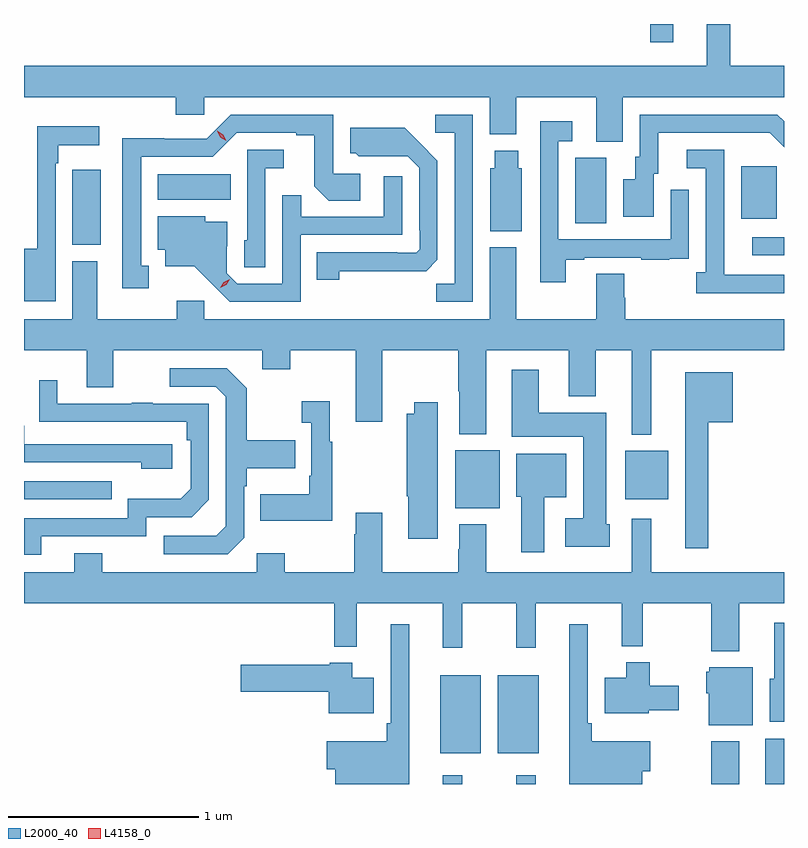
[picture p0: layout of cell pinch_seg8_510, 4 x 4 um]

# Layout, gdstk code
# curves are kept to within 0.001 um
import gdstk
lib = gdstk.Library(unit=1e-6, precision=1e-09)
def R(c, l, rs):  # rectangles x0, y0, x1, y1
    for r in rs: c.add(gdstk.rectangle(r[:2], r[2:], *l))
def P(c, l, *ps):  # polygons
    for p in ps: c.add(gdstk.Polygon(p, *l))
L2000_40 = (2000, 40)
L4158_0 = (4158, 0)

pinch_seg8_510 = lib.new_cell('pinch_seg8_510')
R(pinch_seg8_510, L2000_40, [(192.152,1100.897,192.254,1100.944), (192.538,1100.897,192.64,1100.944), (193.564,1100.897,193.711,1101.121), (193.847,1100.897,193.947,1101.136), (192.137,1101.059,192.352,1101.469), (192.44,1101.059,192.655,1101.469), (192.218,1102.349,192.451,1102.654), (189.947,1102.395,190.409,1102.491), (193.112,1102.397,193.339,1102.651), (193.779,1103.679,193.947,1103.775), (190.202,1103.734,190.351,1104.13), (192.848,1103.848,193.012,1104.192), (193.721,1103.873,193.909,1104.148), (190.652,1103.972,191.036,1104.106), (193.242,1104.801,193.363,1104.897)])
P(pinch_seg8_510, L2000_40, [(193.099,1104.512),(193.947,1104.512),(193.947,1104.676),(193.663,1104.676),(193.663,1104.897),(193.541,1104.897),(193.541,1104.676),(189.947,1104.676),(189.947,1104.512),(190.745,1104.512),(190.745,1104.419),(190.896,1104.419),(190.896,1104.512),(192.398,1104.512),(192.398,1104.318),(192.538,1104.318),(192.538,1104.512),(192.959,1104.512),(192.959,1104.277),(193.099,1104.277)],
  [(190.603,1103.625),(190.564,1103.625),(190.564,1104.198),(190.941,1104.198),(191.067,1104.324),(191.381,1104.324),(191.381,1104.312),(191.475,1104.312),(191.475,1104.044),(191.551,1103.968),(191.716,1103.968),(191.716,1104.108),(191.574,1104.108),(191.574,1104.42),(191.034,1104.42),(190.908,1104.294),(190.686,1104.294),(190.686,1104.296),(190.463,1104.296),(190.463,1103.505),(190.603,1103.505)],
  [(193.261,1104.108),(193.285,1104.108),(193.285,1104.324),(193.873,1104.324),(193.947,1104.249),(193.947,1104.385),(193.912,1104.42),(193.188,1104.42),(193.188,1104.198),(193.163,1104.198),(193.163,1104.079),(193.1,1104.079),(193.1,1103.883),(193.261,1103.883)],
  [(192.309,1104.42),(192.111,1104.42),(192.111,1104.324),(192.213,1104.324),(192.213,1103.531),(192.118,1103.531),(192.118,1103.436),(192.309,1103.436)],
  [(192.799,1103.655),(192.895,1103.655),(192.895,1103.667),(193.195,1103.667),(193.195,1103.655),(193.343,1103.655),(193.343,1103.661),(193.445,1103.661),(193.445,1103.77),(193.446,1103.77),(193.446,1104.025),(193.35,1104.025),(193.35,1103.763),(192.759,1103.763),(192.759,1104.279),(192.832,1104.279),(192.832,1104.385),(192.663,1104.385),(192.663,1103.538),(192.799,1103.538)],
  [(190.113,1104.164),(190.126,1104.164),(190.126,1104.26),(190.342,1104.26),(190.342,1104.358),(190.017,1104.358),(190.017,1103.715),(189.947,1103.715),(189.947,1103.438),(190.113,1103.438)],
  [(191.607,1103.596),(192.064,1103.597),(192.123,1103.656),(192.123,1104.178),(191.951,1104.352),(191.663,1104.352),(191.663,1104.216),(191.694,1104.216),(191.71,1104.2),(191.967,1104.201),(192.027,1104.141),(192.027,1103.812),(192.03,1103.812),(192.03,1103.712),(192.012,1103.694),(191.912,1103.694),(191.912,1103.697),(191.488,1103.697),(191.488,1103.55),(191.607,1103.55)],
  [(193.947,1103.577),(193.633,1103.577),(193.633,1103.777),(193.632,1103.777),(193.632,1104.234),(193.434,1104.234),(193.434,1104.138),(193.536,1104.138),(193.536,1103.59),(193.485,1103.59),(193.485,1103.48),(193.947,1103.48)],
  [(191.217,1104.137),(191.314,1104.137),(191.314,1104.234),(191.121,1104.234),(191.121,1103.76),(191.106,1103.76),(191.106,1103.617),(191.217,1103.617)],
  [(192.568,1104.138),(192.547,1104.138),(192.547,1104.229),(192.425,1104.229),(192.425,1104.138),(192.401,1104.138),(192.401,1103.807),(192.568,1103.807)],
  [(191.403,1103.787),(191.937,1103.787),(191.937,1104.097),(191.841,1104.097),(191.841,1103.883),(191.405,1103.883),(191.405,1103.996),(191.307,1103.996),(191.307,1103.529),(191.07,1103.529),(191.013,1103.586),(191.013,1103.728),(191.017,1103.728),(191.017,1103.857),(190.902,1103.857),(190.902,1103.884),(190.652,1103.884),(190.652,1103.708),(190.691,1103.708),(190.691,1103.621),(190.843,1103.621),(191.03,1103.436),(191.403,1103.436)],
  [(193.249,1103.18),(193.947,1103.18),(193.947,1103.344),(193.112,1103.344),(193.112,1103.457),(193.107,1103.457),(193.107,1103.582),(192.959,1103.582),(192.959,1103.344),(192.538,1103.344),(192.538,1103.722),(192.398,1103.722),(192.398,1103.344),(190.896,1103.344),(190.896,1103.44),(190.75,1103.44),(190.75,1103.344),(190.333,1103.344),(190.333,1103.649),(190.202,1103.649),(190.202,1103.344),(189.947,1103.344),(189.947,1103.18),(190.277,1103.18),(190.277,1102.986),(190.417,1102.986),(190.417,1103.18),(191.201,1103.18),(191.201,1103.081),(191.349,1103.081),(191.349,1103.18),(191.693,1103.18),(191.693,1102.803),(191.833,1102.803),(191.833,1103.18),(192.232,1103.18),(192.232,1102.965),(192.239,1102.965),(192.239,1102.739),(192.379,1102.739),(192.379,1103.18),(192.815,1103.18),(192.815,1102.937),(192.955,1102.937),(192.955,1103.18),(193.145,1103.18),(193.145,1102.736),(193.249,1102.736)],
  [(191.106,1102.194),(191.106,1102.463),(191.119,1102.463),(191.119,1102.559),(191.375,1102.559),(191.375,1102.707),(191.119,1102.707),(191.119,1102.979),(191.013,1103.085),(190.713,1103.085),(190.713,1102.989),(190.956,1102.989),(191.01,1102.935),(191.01,1102.254),(190.959,1102.203),(190.683,1102.203),(190.683,1102.107),(191.019,1102.107)],
  [(193.03,1102.263),(193.012,1102.263),(193.012,1102.852),(192.655,1102.852),(192.655,1103.077),(192.515,1103.077),(192.515,1102.724),(192.89,1102.724),(192.89,1102.297),(192.795,1102.297),(192.795,1102.145),(193.03,1102.145)],
  [(193.549,1102.802),(193.678,1102.802),(193.678,1103.065),(193.427,1103.065),(193.427,1102.137),(193.549,1102.137)],
  [(190.039,1102.2),(190.59,1102.2),(190.59,1102.302),(190.83,1102.302),(190.92,1102.392),(190.92,1102.899),(190.625,1102.899),(190.625,1102.904),(190.513,1102.904),(190.513,1102.899),(190.123,1102.899),(190.123,1103.023),(190.027,1103.023),(190.027,1102.804),(190.804,1102.803),(190.804,1102.706),(190.824,1102.706),(190.824,1102.452),(190.771,1102.399),(190.494,1102.399),(190.494,1102.296),(189.947,1102.296),(189.947,1102.104),(190.039,1102.104)],
  [(191.569,1102.699),(191.557,1102.699),(191.557,1102.912),(191.409,1102.912),(191.409,1102.799),(191.46,1102.799),(191.46,1102.519),(191.448,1102.519),(191.448,1102.423),(191.191,1102.423),(191.191,1102.283),(191.569,1102.283)],
  [(192.124,1102.906),(192.002,1102.906),(192.002,1102.846),(191.962,1102.846),(191.962,1102.411),(191.969,1102.411),(191.969,1102.188),(192.124,1102.188)],
  [(190.726,1102.686),(189.949,1102.686),(189.949,1102.783),(189.947,1102.783),(189.947,1102.59),(190.565,1102.59),(190.565,1102.556),(190.726,1102.556)],
  [(192.685,1102.406),(192.802,1102.406),(192.802,1102.636),(192.539,1102.636),(192.539,1102.41),(192.563,1102.41),(192.563,1102.116),(192.685,1102.116)],
  [(193.711,1101.848),(193.947,1101.848),(193.947,1102.012),(193.249,1102.012),(193.249,1102.294),(193.145,1102.294),(193.145,1102.012),(192.379,1102.012),(192.379,1102.264),(192.239,1102.264),(192.239,1102.133),(192.232,1102.133),(192.232,1102.012),(191.833,1102.012),(191.833,1102.324),(191.693,1102.324),(191.693,1102.211),(191.686,1102.211),(191.686,1102.012),(191.319,1102.012),(191.319,1102.111),(191.172,1102.111),(191.172,1102.012),(190.359,1102.012),(190.359,1102.111),(190.211,1102.111),(190.211,1102.012),(189.947,1102.012),(189.947,1101.848),(191.581,1101.848),(191.581,1101.62),(191.699,1101.62),(191.699,1101.848),(192.152,1101.848),(192.152,1101.615),(192.254,1101.615),(192.254,1101.848),(192.538,1101.848),(192.538,1101.615),(192.641,1101.615),(192.641,1101.848),(193.094,1101.848),(193.094,1101.623),(193.204,1101.623),(193.204,1101.848),(193.564,1101.848),(193.564,1101.596),(193.711,1101.596)],
  [(193.947,1101.745),(193.895,1101.745),(193.895,1101.45),(193.871,1101.45),(193.871,1101.224),(193.947,1101.224)],
  [(191.974,1101.739),(191.877,1101.739),(191.877,1101.217),(191.857,1101.217),(191.857,1101.121),(191.54,1101.121),(191.54,1100.974),(191.584,1100.974),(191.584,1100.897),(191.974,1100.897)],
  [(193.201,1100.963),(193.243,1100.963),(193.243,1101.121),(192.935,1101.121),(192.935,1101.217),(192.915,1101.217),(192.915,1101.739),(192.818,1101.739),(192.818,1100.897),(193.201,1100.897)],
  [(193.236,1101.284),(193.393,1101.284),(193.393,1101.414),(193.24,1101.414),(193.24,1101.538),(193.118,1101.538),(193.118,1101.457),(193.004,1101.457),(193.004,1101.269),(193.236,1101.269)],
  [(191.788,1101.457),(191.674,1101.457),(191.674,1101.535),(191.556,1101.535),(191.556,1101.525),(191.088,1101.525),(191.088,1101.383),(191.552,1101.383),(191.552,1101.269),(191.788,1101.269)],
  [(193.783,1101.511),(193.554,1101.511),(193.554,1101.489),(193.538,1101.489),(193.538,1101.375),(193.55,1101.375),(193.55,1101.206),(193.783,1101.206)])
P(pinch_seg8_510, L4158_0, [(190.979,1103.509),(190.979,1103.51),(190.998,1103.539),(191.029,1103.554),(191.029,1103.554),(191.029,1103.554),(191.011,1103.524),(190.98,1103.509)],
  [(191.012,1104.282),(190.98,1104.302),(190.963,1104.334),(190.963,1104.335),(190.963,1104.335),(190.995,1104.315),(191.012,1104.283),(191.012,1104.282)])

lib.write_gds('pinch_seg8_510.gds')
